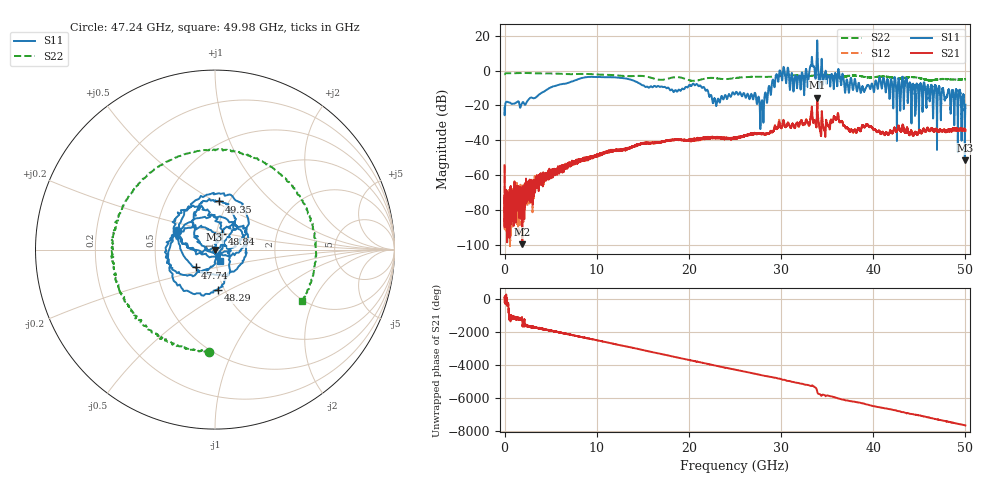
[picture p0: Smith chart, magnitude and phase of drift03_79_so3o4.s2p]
!Created with skrf (http://scikit-rf.org).
# Hz S RI R 50.0
!freq ReS11 ImS11 ReS21 ImS21 ReS12 ImS12 ReS22 ImS22
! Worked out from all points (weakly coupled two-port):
!   10001 points, 300 kHz to 50 GHz, reference 50 ohm
!   highest |S21| = -15.42 dB at 33.92 GHz (marker M1); lowest = -99.8 dB at 1.92 GHz (marker M2)
!   lowest |S11| = -51.6 dB at 49.94 GHz (marker M3), VSWR 1.01, Z = 49.7 + j0.00604 ohm
!   |S11| at or under -10 dB: start of sweep to 4.849 GHz; 21.69 GHz to 28.62 GHz (6.935 GHz wide, 27.6 % of centre); 47.56 GHz to end of sweep (the widest 3 of 47)
!   |S22| runs from -5.9 to -1.3 dB; largest |S21 - S12| = 0.018
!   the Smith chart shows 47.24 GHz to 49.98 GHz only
!   S11 on the Smith chart (normalised r, x): 47.24 GHz: 0.64, +0.14; 47.74 GHz: 0.79, -0.16; 48.29 GHz: 0.93, -0.45; 48.84 GHz: 1.06, +0.18; 49.35 GHz: 0.90, +0.52; 49.98 GHz: 1.04, -0.13
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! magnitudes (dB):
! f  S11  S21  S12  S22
! 300 kHz  -21.3  -54.4  -54.6  -2.1
! 255.3 MHz  -17.9  -75.8  -81.5  -1.4
! 1.92 GHz  -18.4  -99.8  -74.5  -1.3
! 8.335 GHz  -4.3  -51.4  -50.9  -1.9
! 16.67 GHz  -8.8  -41.2  -41.3  -5.1
! 21.01 GHz  -8.7  -39.3  -39.3  -5.5
! 22.81 GHz  -16.1  -38.4  -38.7  -4.2
! 25 GHz  -13.4  -38.4  -38.9  -4.3
! 27.92 GHz  -17.1  -36.4  -36.4  -3.5
! 29.69 GHz  -6.4  -32.2  -31.7  -3.1
! 32.32 GHz  -1.5  -30.3  -30.7  -3.3
! 33.34 GHz  7.9  -20.6  -21.0  -2.9
! 33.92 GHz  17.4  -15.4  -15.8  -2.4
! 41.67 GHz  -9.0  -36.7  -36.6  -3.6
! 47.24 GHz  -12.6  -33.7  -34.0  -4.9
! 47.74 GHz  -16.7  -34.2  -34.1  -4.8
! 48.29 GHz  -12.9  -34.2  -34.6  -4.9
! 48.84 GHz  -20.7  -34.1  -34.2  -5.1
! 49.35 GHz  -11.4  -33.7  -33.8  -5.1
! 49.94 GHz  -51.6  -33.2  -33.7  -5.0
! 49.98 GHz  -23.2  -34.2  -34.1  -5.0
! 50 GHz  -19.6  -34.8  -34.1  -4.9
